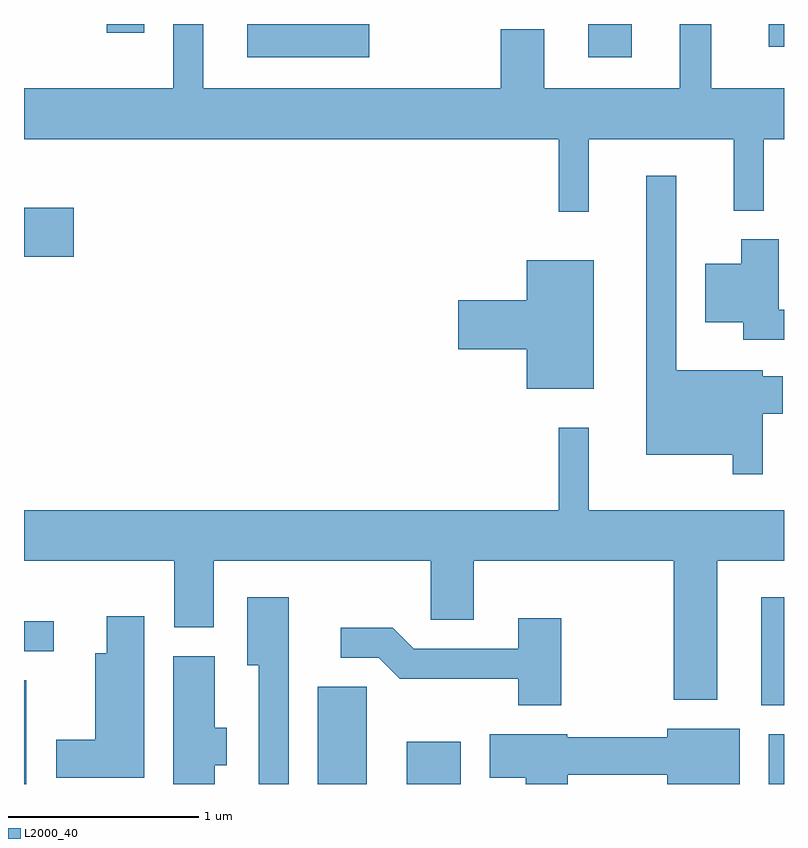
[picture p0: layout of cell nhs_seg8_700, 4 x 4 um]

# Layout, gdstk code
import gdstk
lib = gdstk.Library(unit=1e-6, precision=1e-09)
def R(c, l, rs):  # rectangles x0, y0, x1, y1
    for r in rs: c.add(gdstk.rectangle(r[:2], r[2:], *l))
def P(c, l, *ps):  # polygons
    for p in ps: c.add(gdstk.Polygon(p, *l))
L2000_40 = (2000, 40)

nhs_seg8_700 = lib.new_cell('nhs_seg8_700')
R(nhs_seg8_700, L2000_40, [(205.611,1846.342,205.624,1846.889), (207.156,1846.342,207.414,1846.854), (207.626,1846.342,207.909,1846.564), (209.531,1846.342,209.611,1846.604), (209.491,1846.756,209.611,1847.324), (205.611,1847.041,205.768,1847.199), (205.611,1849.116,205.874,1849.374), (206.786,1850.166,207.429,1850.342), (208.581,1850.166,208.809,1850.342), (209.531,1850.223,209.611,1850.342), (206.046,1850.296,206.244,1850.342)])
P(nhs_seg8_700, L2000_40, [(208.584,1849.736),(209.346,1849.736),(209.346,1849.358),(209.504,1849.358),(209.504,1849.736),(209.611,1849.736),(209.611,1850.004),(209.229,1850.004),(209.229,1850.342),(209.061,1850.342),(209.061,1850.004),(208.349,1850.004),(208.349,1850.314),(208.121,1850.314),(208.121,1850.004),(206.554,1850.004),(206.554,1850.342),(206.396,1850.342),(206.396,1850.004),(205.611,1850.004),(205.611,1849.736),(208.426,1849.736),(208.426,1849.353),(208.584,1849.353)],
  [(209.499,1848.291),(209.604,1848.291),(209.604,1848.489),(209.499,1848.489),(209.499,1848.519),(209.044,1848.519),(209.044,1849.543),(208.886,1849.543),(208.886,1848.076),(209.341,1848.076),(209.341,1847.973),(209.499,1847.973)],
  [(209.611,1848.839),(209.584,1848.839),(209.584,1849.209),(209.386,1849.209),(209.386,1849.079),(209.196,1849.079),(209.196,1848.771),(209.396,1848.771),(209.396,1848.681),(209.611,1848.681)],
  [(208.609,1849.099),(208.256,1849.099),(208.256,1848.889),(207.896,1848.889),(207.896,1848.631),(208.256,1848.631),(208.256,1848.421),(208.609,1848.421)],
  [(209.259,1847.516),(209.611,1847.516),(209.611,1847.784),(208.584,1847.784),(208.584,1848.218),(208.426,1848.218),(208.426,1847.784),(205.611,1847.784),(205.611,1847.516),(206.401,1847.516),(206.401,1847.166),(206.609,1847.166),(206.609,1847.516),(207.751,1847.516),(207.751,1847.206),(207.979,1847.206),(207.979,1847.516),(209.031,1847.516),(209.031,1846.786),(209.259,1846.786)],
  [(207.004,1847.324),(206.786,1847.324),(206.786,1846.966),(206.846,1846.966),(206.846,1846.342),(207.004,1846.342)],
  [(206.244,1847.224),(206.046,1847.224),(206.046,1847.029),(205.986,1847.029),(205.986,1846.574),(205.781,1846.574),(205.781,1846.376),(206.244,1846.376)],
  [(208.439,1847.214),(208.211,1847.214),(208.211,1847.054),(207.662,1847.054),(207.552,1847.164),(207.278,1847.164),(207.278,1847.006),(207.479,1847.006),(207.589,1846.896),(208.211,1846.896),(208.211,1846.756),(208.439,1846.756)],
  [(206.614,1846.441),(206.679,1846.441),(206.679,1846.639),(206.614,1846.639),(206.614,1847.014),(206.396,1847.014),(206.396,1846.342),(206.614,1846.342)],
  [(208.474,1846.391),(208.996,1846.391),(208.996,1846.342),(209.379,1846.342),(209.379,1846.634),(208.996,1846.634),(208.996,1846.589),(208.47,1846.589),(208.47,1846.604),(208.061,1846.604),(208.061,1846.376),(208.251,1846.376),(208.251,1846.342),(208.474,1846.342)])

lib.write_gds('nhs_seg8_700.gds')
